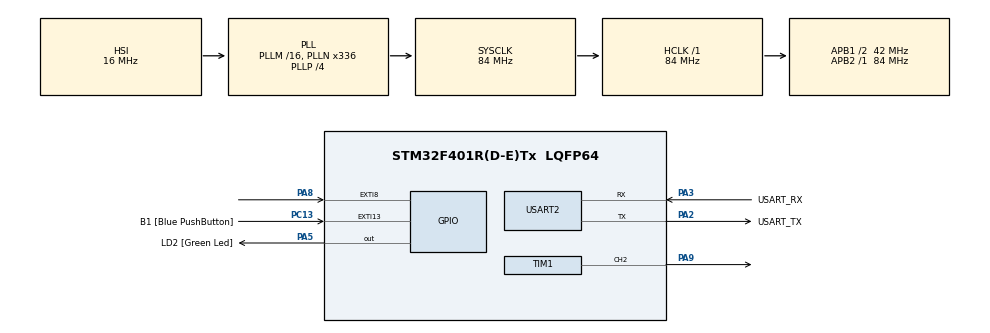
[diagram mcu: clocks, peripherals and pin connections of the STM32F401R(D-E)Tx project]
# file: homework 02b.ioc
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Mcu.Family=STM32F4
Mcu.Name=STM32F401R(D-E)Tx
Mcu.Package=LQFP64
NVIC.EXTI9_5_IRQn=true\:0\:0\:false\:false\:true\:true\:true\:true
NVIC.PriorityGroup=NVIC_PRIORITYGROUP_0
NVIC.TIM1_UP_TIM10_IRQn=true\:0\:0\:false\:false\:true\:true\:true\:true
PA13.GPIO_Label=TMS
PA13.Mode=Serial_Wire
PA13.Signal=SYS_JTMS-SWDIO
PA14.GPIO_Label=TCK
PA14.Mode=Serial_Wire
PA14.Signal=SYS_JTCK-SWCLK
PA2.GPIO_Label=USART_TX
PA2.GPIO_Mode=GPIO_MODE_AF_PP
PA2.GPIO_PuPd=GPIO_NOPULL
PA2.GPIO_Speed=GPIO_SPEED_FREQ_LOW
PA2.Mode=Asynchronous
PA2.Signal=USART2_TX
PA3.GPIO_Label=USART_RX
PA3.GPIO_Mode=GPIO_MODE_AF_PP
PA3.GPIO_PuPd=GPIO_NOPULL
PA3.GPIO_Speed=GPIO_SPEED_FREQ_LOW
PA3.Mode=Asynchronous
PA3.Signal=USART2_RX
PA5.GPIO_Label=LD2 [Green Led]
PA5.GPIO_Mode=GPIO_MODE_OUTPUT_PP
PA5.GPIO_PuPd=GPIO_NOPULL
PA5.GPIO_Speed=GPIO_SPEED_FREQ_LOW
PA5.Signal=GPIO_Output
PA8.Signal=GPXTI8
PA9.Signal=S_TIM1_CH2
PB3.GPIO_Label=SWO
PB3.Signal=SYS_JTDO-SWO
PC13-ANTI_TAMP.GPIO_Label=B1 [Blue PushButton]
PC13-ANTI_TAMP.GPIO_ModeDefaultEXTI=GPIO_MODE_IT_FALLING
PC13-ANTI_TAMP.GPIO_PuPd=GPIO_NOPULL
PC13-ANTI_TAMP.Signal=GPXTI13
PC14-OSC32_IN.Mode=LSE-External-Oscillator
PC14-OSC32_IN.Signal=RCC_OSC32_IN
PC15-OSC32_OUT.Mode=LSE-External-Oscillator
PC15-OSC32_OUT.Signal=RCC_OSC32_OUT
PH0\ -\ OSC_IN.Mode=HSE-External-Clock-Source
PH0\ -\ OSC_IN.Signal=RCC_OSC_IN
PH1\ -\ OSC_OUT.Mode=HSE-External-Clock-Source
PH1\ -\ OSC_OUT.Signal=RCC_OSC_OUT
ProjectManager.HeapSize=0x200
ProjectManager.StackSize=0x400
ProjectManager.TargetToolchain=STM32CubeIDE
RCC.48MHZClocksFreq_Value=48000000
RCC.AHBFreq_Value=84000000
RCC.APB1CLKDivider=RCC_HCLK_DIV2
RCC.APB1Freq_Value=42000000
RCC.APB1TimFreq_Value=84000000
RCC.APB2Freq_Value=84000000
RCC.APB2TimFreq_Value=84000000
RCC.CortexFreq_Value=84000000
RCC.HCLKFreq_Value=84000000
RCC.HSE_VALUE=8000000
RCC.HSI_VALUE=16000000
RCC.PLLN=336
RCC.PLLP=RCC_PLLP_DIV4
RCC.PLLQ=7
RCC.SYSCLKFreq_VALUE=84000000
RCC.SYSCLKSource=RCC_SYSCLKSOURCE_PLLCLK
RCC.VCOOutputFreq_Value=336000000
SH.S_TIM1_CH2.0=TIM1_CH2,PWM Generation2 CH2
TIM1.Channel-PWM\ Generation2\ CH2=TIM_CHANNEL_2
TIM1.Prescaler=100-1
TIM10.Period=8400-1
TIM10.Prescaler=10000-1
USART2.VirtualMode=VM_ASYNC
VP_TIM10_VS_ClockSourceINT.Mode=Enable_Timer
VP_TIM1_VS_ClockSourceINT.Mode=Internal
board=NUCLEO-F401RE

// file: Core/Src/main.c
/* USER CODE BEGIN Header */
/**
  ******************************************************************************
  * @file           : main.c
  * @brief          : Main program body
  ******************************************************************************
  * @attention
  *
  * Copyright (c) 2023 STMicroelectronics.
  * All rights reserved.
  *
  * This software is licensed under terms that can be found in the LICENSE file
  * in the root directory of this software component.
  * If no LICENSE file comes with this software, it is provided AS-IS.
  *
  ******************************************************************************
  */
/* USER CODE END Header */
#include "main.h"

/* USER CODE BEGIN PTD */
typedef struct note{
	int note;
	int delay;
}note;
/* USER CODE END PTD */

/* USER CODE BEGIN PD */
#define TIME_UNIT 1000
/* USER CODE END PD */

TIM_HandleTypeDef htim1;
TIM_HandleTypeDef htim10;

UART_HandleTypeDef huart2;

/* USER CODE BEGIN PV */
volatile int play;
volatile int first_callback=1;
volatile int delay_ended=0;
/* USER CODE END PV */

void SystemClock_Config(void);
static void MX_GPIO_Init(void);
static void MX_USART2_UART_Init(void);
static void MX_TIM1_Init(void);
static void MX_TIM10_Init(void);
static void setFrequency(int frequency)
{
  TIM_ClockConfigTypeDef sClockSourceConfig = {0};
  TIM_MasterConfigTypeDef sMasterConfig = {0};
  TIM_OC_InitTypeDef sConfigOC = {0};
  TIM_BreakDeadTimeConfigTypeDef sBreakDeadTimeConfig = {0};

  htim1.Instance = TIM1;
  htim1.Init.Prescaler = 100;
  htim1.Init.CounterMode = TIM_COUNTERMODE_UP;
  htim1.Init.Period = frequency -1;
  htim1.Init.ClockDivision = TIM_CLOCKDIVISION_DIV1;
  htim1.Init.RepetitionCounter = 0;
  htim1.Init.AutoReloadPreload = TIM_AUTORELOAD_PRELOAD_DISABLE;
  if (HAL_TIM_Base_Init(&htim1) != HAL_OK)
  {
    Error_Handler();
  }
  sClockSourceConfig.ClockSource = TIM_CLOCKSOURCE_INTERNAL;
  if (HAL_TIM_ConfigClockSource(&htim1, &sClockSourceConfig) != HAL_OK)
  {
    Error_Handler();
  }
  if (HAL_TIM_PWM_Init(&htim1) != HAL_OK)
  {
    Error_Handler();
  }
  sMasterConfig.MasterOutputTrigger = TIM_TRGO_RESET;
  sMasterConfig.MasterSlaveMode = TIM_MASTERSLAVEMODE_DISABLE;
  if (HAL_TIMEx_MasterConfigSynchronization(&htim1, &sMasterConfig) != HAL_OK)
  {
    Error_Handler();
  }
  sConfigOC.OCMode = TIM_OCMODE_PWM1;
  sConfigOC.Pulse = (int)frequency/2 -1;
  sConfigOC.OCPolarity = TIM_OCPOLARITY_HIGH;
  sConfigOC.OCNPolarity = TIM_OCNPOLARITY_HIGH;
  sConfigOC.OCFastMode = TIM_OCFAST_DISABLE;
  sConfigOC.OCIdleState = TIM_OCIDLESTATE_RESET;
  sConfigOC.OCNIdleState = TIM_OCNIDLESTATE_RESET;
  if (HAL_TIM_PWM_ConfigChannel(&htim1, &sConfigOC, TIM_CHANNEL_2) != HAL_OK)
  {
    Error_Handler();
  }
  sBreakDeadTimeConfig.OffStateRunMode = TIM_OSSR_DISABLE;
  sBreakDeadTimeConfig.OffStateIDLEMode = TIM_OSSI_DISABLE;
  sBreakDeadTimeConfig.LockLevel = TIM_LOCKLEVEL_OFF;
  sBreakDeadTimeConfig.DeadTime = 0;
  sBreakDeadTimeConfig.BreakState = TIM_BREAK_DISABLE;
  sBreakDeadTimeConfig.BreakPolarity = TIM_BREAKPOLARITY_HIGH;
  sBreakDeadTimeConfig.AutomaticOutput = TIM_AUTOMATICOUTPUT_DISABLE;
  if (HAL_TIMEx_ConfigBreakDeadTime(&htim1, &sBreakDeadTimeConfig) != HAL_OK)
  {
    Error_Handler();
  }
  HAL_TIM_MspPostInit(&htim1);
}

int getPeriod(char* note){
	if(strcmp(note, "la")==0)
		return 1909;
	else if (strcmp(note, "la#")==0)
			return 1802;
	else if (strcmp(note, "si")==0)
			return 1700;
	else if (strcmp(note, "do")==0)
			return 3206;
	else if (strcmp(note, "do#")==0)
			return 3032;
	else if (strcmp(note, "re")==0)
			return 2857;
	else if (strcmp(note, "re5")==0)
				return 1431;
	else if (strcmp(note, "re#")==0)
			return 2700;
	else if (strcmp(note, "mi")==0)
			return 2545;
	else if (strcmp(note, "fa")==0)
			return 2406;
	else if (strcmp(note, "fa#")==0)
			return 2270;
	else if (strcmp(note, "sol")==0)
			return 2142;
	else if (strcmp(note, "sol#")==0)
			return 2024;
}
struct note setNote (char* note, int delay){
	struct note nota;
	nota.note= getPeriod(note);
	nota.delay= delay;
	return nota;
}
struct note* compose_song(){

}
void playLondonBridge(){
  struct note song[24];
  song[0]= setNote("sol", (int)TIME_UNIT * 3/8);
  song[1]=setNote("la", (int)TIME_UNIT * 1/8);
  song[2]=setNote("sol", (int)TIME_UNIT * 1/4);
  song[3]=setNote("fa", (int)TIME_UNIT * 1/4);
  song[4]=setNote("mi", (int)TIME_UNIT * 1/4);
  song[5]=setNote("fa", (int)TIME_UNIT * 1/4);
  song[6]=setNote("sol", (int)TIME_UNIT * 1/2);
  song[7]=setNote("re", (int)TIME_UNIT * 1/4);
  song[8]=setNote("mi", (int)TIME_UNIT * 1/4);
  song[9]=setNote("fa", (int)TIME_UNIT * 1/2);
  song[10]=setNote("mi", (int)TIME_UNIT * 1/4);
  song[11]=setNote("fa", (int)TIME_UNIT * 1/4);
  song[12]=setNote("sol", (int)TIME_UNIT * 1/2);
  song[13]=setNote("sol", (int)TIME_UNIT * 3/8);
  song[14]=setNote("la", (int)TIME_UNIT * 1/8);
  song[15]=setNote("sol", (int)TIME_UNIT * 1/4);
  song[16]=setNote("fa", (int)TIME_UNIT * 1/4);
  song[17]=setNote("mi", (int)TIME_UNIT * 1/4);
  song[18]=setNote("fa", (int)TIME_UNIT * 1/4);
  song[19]=setNote("sol", (int)TIME_UNIT * 1/2);
  song[20]=setNote("re", (int)TIME_UNIT * 1/2);
  song[21]=setNote("sol", (int)TIME_UNIT * 1/2);
  song[22]=setNote("mi", (int)TIME_UNIT * 1/4);
  song[23]=setNote("do", (int)TIME_UNIT * 3/4);

  for(int i=0; i<sizeof(song)/sizeof(song[1]); i++){
	  setFrequency(song[i].note);
	  HAL_TIM_PWM_Start(&htim1, TIM_CHANNEL_2);
	  setTimer (song[i].delay);
	  HAL_TIM_Base_Start_IT(&htim10);
	  while(!delay_ended){}
	  delay_ended=0;
  }
  first_callback=1;
  delay_ended=0;
}
/*void playTequila(){
	for(int i=0; i<3; i++){
		setNote("re", (int)TIME_UNIT * 1/8);
		setNote("sol", (int)TIME_UNIT * 2/8);
		setNote("sol", (int)TIME_UNIT * 1/8);
		setNote("sfa", (int)TIME_UNIT * 1/8);
		setNote("la", (int)TIME_UNIT * 2/8);
		setNote("fa", (int)TIME_UNIT * 1/8);
		setNote("sol", (int)TIME_UNIT * 1/8);
		setNote("sol", (int)TIME_UNIT * 1/8);
		setNote("re", (int)TIME_UNIT * 1/8);
		setNote("re", (int)TIME_UNIT * 4/8);
		setNote("re", (int)TIME_UNIT * 1/8);
		setNote("re", (int)TIME_UNIT * 1/8);
		setNote("sol", (int)TIME_UNIT * 2/8);
		setNote("sol", (int)TIME_UNIT * 1/8);
		setNote("fa", (int)TIME_UNIT * 1/8);
		setNote("la", (int)TIME_UNIT * 2/8);
		setNote("fa", (int)TIME_UNIT * 1/8);
		setNote("sol", (int)TIME_UNIT * 1/8);
		setNote("sol", (int)TIME_UNIT * 5/8);
		HAL_Delay((int)TIME_UNIT*1/8);
		setNote("re", (int)TIME_UNIT * 1/8);
		setNote("sol", (int)TIME_UNIT * 2/8);
		setNote("sol", (int)TIME_UNIT * 1/8);
		setNote("sfa", (int)TIME_UNIT * 1/8);
		setNote("la", (int)TIME_UNIT * 2/8);
		setNote("fa", (int)TIME_UNIT * 1/8);
		setNote("sol", (int)TIME_UNIT * 1/8);
		setNote("sol", (int)TIME_UNIT * 1/8);
		setNote("re", (int)TIME_UNIT * 1/8);
		setNote("re", (int)TIME_UNIT * 4/8);
		setNote("re", (int)TIME_UNIT * 1/8);
		setNote("re", (int)TIME_UNIT * 1/8);
		setNote("sol", (int)TIME_UNIT * 2/8);
		setNote("sol", (int)TIME_UNIT * 1/8);
		setNote("fa", (int)TIME_UNIT * 1/8);
		setNote("la", (int)TIME_UNIT * 2/8);
		setNote("fa", (int)TIME_UNIT * 1/8);
		setNote("sol", (int)TIME_UNIT * 1/8);
		setNote("sol", (int)TIME_UNIT * 5/8);
	}

	setNote("sol", (int)TIME_UNIT * 4/8);
	HAL_Delay((int)TIME_UNIT*1/8);
	setNote("re", (int)TIME_UNIT * 1/8);
	setNote("mi", (int)TIME_UNIT * 1/8);
	setNote("sol", (int)TIME_UNIT * 1/8);
	setNote("la#", (int)TIME_UNIT * 8/8);
	setNote("sol", (int)TIME_UNIT * 4/8);
	HAL_Delay((int)TIME_UNIT*1/8);
	setNote("re", (int)TIME_UNIT * 1/8);
	setNote("mi", (int)TIME_UNIT * 1/8);
	setNote("sol", (int)TIME_UNIT * 1/8);
	setNote("la#", (int)TIME_UNIT * 8/8);
	setNote("sol", (int)TIME_UNIT * 4/8);
	HAL_Delay((int)TIME_UNIT*1/8);
	setNote("re", (int)TIME_UNIT * 1/8);
	setNote("mi", (int)TIME_UNIT * 1/8);
	setNote("sol", (int)TIME_UNIT * 1/8);
	setNote("la#", (int)TIME_UNIT * 8/8);
	setNote("sol", (int)TIME_UNIT * 8/8);
	setNote("la", (int)TIME_UNIT * 1/8);
	setNote("la", (int)TIME_UNIT * 1/8);
	setNote("la", (int)TIME_UNIT * 1/8);
	setNote("la", (int)TIME_UNIT * 1/8);
	setNote("la", (int)TIME_UNIT * 2/8);
	setNote("la", (int)TIME_UNIT * 2/8);
	setNote("re5", (int)TIME_UNIT * 8/8);
}
*/

void HAL_GPIO_EXTI_Callback(uint16_t GPIO_Pin){
	play = 1;
}
void setTimer(int delay)
{
  htim10.Instance = TIM10;
  htim10.Init.Prescaler = 9999;
  htim10.Init.CounterMode = TIM_COUNTERMODE_UP;
  htim10.Init.Period = (int)(8400-1)*delay;
  htim10.Init.ClockDivision = TIM_CLOCKDIVISION_DIV1;
  htim10.Init.AutoReloadPreload = TIM_AUTORELOAD_PRELOAD_DISABLE;
  if (HAL_TIM_Base_Init(&htim10) != HAL_OK)
  {
    Error_Handler();
  }
}
/* USER CODE BEGIN PFP */
void HAL_TIM_PeriodElapsedCallback(TIM_HandleTypeDef *htim10){
	if(first_callback==1){
		first_callback=0;
	}else{
		first_callback=1;
		delay_ended=1;
		HAL_TIM_PWM_Stop(&htim1, TIM_CHANNEL_2);
		HAL_TIM_Base_Stop_IT(htim10);
	}
}

/* USER CODE END PFP */

int main(void)
{

  /* MCU Configuration--------------------------------------------------------*/

  /* Reset of all peripherals, Initializes the Flash interface and the Systick. */
  HAL_Init();

  /* Configure the system clock */
  SystemClock_Config();

  /* Initialize all configured peripherals */
  MX_GPIO_Init();
  MX_USART2_UART_Init();
  MX_TIM1_Init();
  MX_TIM10_Init();

  /* Infinite loop */
  /* USER CODE BEGIN WHILE */
  int index=0;
  while (1)
  {
	 if(play==1){
		 playLondonBridge();
		 play=0;
	 }
    /* USER CODE END WHILE */

  }
}

void SystemClock_Config(void)
{
  RCC_OscInitTypeDef RCC_OscInitStruct = {0};
  RCC_ClkInitTypeDef RCC_ClkInitStruct = {0};

  /** Configure the main internal regulator output voltage
  */
  __HAL_RCC_PWR_CLK_ENABLE();
  __HAL_PWR_VOLTAGESCALING_CONFIG(PWR_REGULATOR_VOLTAGE_SCALE2);

  /** Initializes the RCC Oscillators according to the specified parameters
  * in the RCC_OscInitTypeDef structure.
  */
  RCC_OscInitStruct.OscillatorType = RCC_OSCILLATORTYPE_HSI;
  RCC_OscInitStruct.HSIState = RCC_HSI_ON;
  RCC_OscInitStruct.HSICalibrationValue = RCC_HSICALIBRATION_DEFAULT;
  RCC_OscInitStruct.PLL.PLLState = RCC_PLL_ON;
  RCC_OscInitStruct.PLL.PLLSource = RCC_PLLSOURCE_HSI;
  RCC_OscInitStruct.PLL.PLLM = 16;
  RCC_OscInitStruct.PLL.PLLN = 336;
  RCC_OscInitStruct.PLL.PLLP = RCC_PLLP_DIV4;
  RCC_OscInitStruct.PLL.PLLQ = 7;
  if (HAL_RCC_OscConfig(&RCC_OscInitStruct) != HAL_OK)
  {
    Error_Handler();
  }

  /** Initializes the CPU, AHB and APB buses clocks
  */
  RCC_ClkInitStruct.ClockType = RCC_CLOCKTYPE_HCLK|RCC_CLOCKTYPE_SYSCLK
                              |RCC_CLOCKTYPE_PCLK1|RCC_CLOCKTYPE_PCLK2;
  RCC_ClkInitStruct.SYSCLKSource = RCC_SYSCLKSOURCE_PLLCLK;
  RCC_ClkInitStruct.AHBCLKDivider = RCC_SYSCLK_DIV1;
  RCC_ClkInitStruct.APB1CLKDivider = RCC_HCLK_DIV2;
  RCC_ClkInitStruct.APB2CLKDivider = RCC_HCLK_DIV1;

  if (HAL_RCC_ClockConfig(&RCC_ClkInitStruct, FLASH_LATENCY_2) != HAL_OK)
  {
    Error_Handler();
  }
}

static void MX_TIM1_Init(void)
{

  TIM_ClockConfigTypeDef sClockSourceConfig = {0};
  TIM_MasterConfigTypeDef sMasterConfig = {0};
  TIM_OC_InitTypeDef sConfigOC = {0};
  TIM_BreakDeadTimeConfigTypeDef sBreakDeadTimeConfig = {0};

  htim1.Instance = TIM1;
  htim1.Init.Prescaler = 100-1;
  htim1.Init.CounterMode = TIM_COUNTERMODE_UP;
  htim1.Init.Period = 65535;
  htim1.Init.ClockDivision = TIM_CLOCKDIVISION_DIV1;
  htim1.Init.RepetitionCounter = 0;
  htim1.Init.AutoReloadPreload = TIM_AUTORELOAD_PRELOAD_DISABLE;
  if (HAL_TIM_Base_Init(&htim1) != HAL_OK)
  {
    Error_Handler();
  }
  sClockSourceConfig.ClockSource = TIM_CLOCKSOURCE_INTERNAL;
  if (HAL_TIM_ConfigClockSource(&htim1, &sClockSourceConfig) != HAL_OK)
  {
    Error_Handler();
  }
  if (HAL_TIM_PWM_Init(&htim1) != HAL_OK)
  {
    Error_Handler();
  }
  sMasterConfig.MasterOutputTrigger = TIM_TRGO_RESET;
  sMasterConfig.MasterSlaveMode = TIM_MASTERSLAVEMODE_DISABLE;
  if (HAL_TIMEx_MasterConfigSynchronization(&htim1, &sMasterConfig) != HAL_OK)
  {
    Error_Handler();
  }
  sConfigOC.OCMode = TIM_OCMODE_PWM1;
  sConfigOC.Pulse = 0;
  sConfigOC.OCPolarity = TIM_OCPOLARITY_HIGH;
  sConfigOC.OCNPolarity = TIM_OCNPOLARITY_HIGH;
  sConfigOC.OCFastMode = TIM_OCFAST_DISABLE;
  sConfigOC.OCIdleState = TIM_OCIDLESTATE_RESET;
  sConfigOC.OCNIdleState = TIM_OCNIDLESTATE_RESET;
  if (HAL_TIM_PWM_ConfigChannel(&htim1, &sConfigOC, TIM_CHANNEL_2) != HAL_OK)
  {
    Error_Handler();
  }
  sBreakDeadTimeConfig.OffStateRunMode = TIM_OSSR_DISABLE;
  sBreakDeadTimeConfig.OffStateIDLEMode = TIM_OSSI_DISABLE;
  sBreakDeadTimeConfig.LockLevel = TIM_LOCKLEVEL_OFF;
  sBreakDeadTimeConfig.DeadTime = 0;
  sBreakDeadTimeConfig.BreakState = TIM_BREAK_DISABLE;
  sBreakDeadTimeConfig.BreakPolarity = TIM_BREAKPOLARITY_HIGH;
  sBreakDeadTimeConfig.AutomaticOutput = TIM_AUTOMATICOUTPUT_DISABLE;
  if (HAL_TIMEx_ConfigBreakDeadTime(&htim1, &sBreakDeadTimeConfig) != HAL_OK)
  {
    Error_Handler();
  }
  HAL_TIM_MspPostInit(&htim1);

}

static void MX_TIM10_Init(void)
{

  htim10.Instance = TIM10;
  htim10.Init.Prescaler = 10000-1;
  htim10.Init.CounterMode = TIM_COUNTERMODE_UP;
  htim10.Init.Period = 8400-1;
  htim10.Init.ClockDivision = TIM_CLOCKDIVISION_DIV1;
  htim10.Init.AutoReloadPreload = TIM_AUTORELOAD_PRELOAD_DISABLE;
  if (HAL_TIM_Base_Init(&htim10) != HAL_OK)
  {
    Error_Handler();
  }

}

static void MX_USART2_UART_Init(void)
{

  huart2.Instance = USART2;
  huart2.Init.BaudRate = 115200;
  huart2.Init.WordLength = UART_WORDLENGTH_8B;
  huart2.Init.StopBits = UART_STOPBITS_1;
  huart2.Init.Parity = UART_PARITY_NONE;
  huart2.Init.Mode = UART_MODE_TX_RX;
  huart2.Init.HwFlowCtl = UART_HWCONTROL_NONE;
  huart2.Init.OverSampling = UART_OVERSAMPLING_16;
  if (HAL_UART_Init(&huart2) != HAL_OK)
  {
    Error_Handler();
  }

}

static void MX_GPIO_Init(void)
{
  GPIO_InitTypeDef GPIO_InitStruct = {0};

  /* GPIO Ports Clock Enable */
  __HAL_RCC_GPIOC_CLK_ENABLE();
  __HAL_RCC_GPIOH_CLK_ENABLE();
  __HAL_RCC_GPIOA_CLK_ENABLE();
  __HAL_RCC_GPIOB_CLK_ENABLE();

  /*Configure GPIO pin Output Level */
  HAL_GPIO_WritePin(LD2_GPIO_Port, LD2_Pin, GPIO_PIN_RESET);

  /*Configure GPIO pin : B1_Pin */
  GPIO_InitStruct.Pin = B1_Pin;
  GPIO_InitStruct.Mode = GPIO_MODE_IT_FALLING;
  GPIO_InitStruct.Pull = GPIO_NOPULL;
  HAL_GPIO_Init(B1_GPIO_Port, &GPIO_InitStruct);

  /*Configure GPIO pin : LD2_Pin */
  GPIO_InitStruct.Pin = LD2_Pin;
  GPIO_InitStruct.Mode = GPIO_MODE_OUTPUT_PP;
  GPIO_InitStruct.Pull = GPIO_NOPULL;
  GPIO_InitStruct.Speed = GPIO_SPEED_FREQ_LOW;
  HAL_GPIO_Init(LD2_GPIO_Port, &GPIO_InitStruct);

  /*Configure GPIO pin : PA8 */
  GPIO_InitStruct.Pin = GPIO_PIN_8;
  GPIO_InitStruct.Mode = GPIO_MODE_IT_RISING;
  GPIO_InitStruct.Pull = GPIO_NOPULL;
  HAL_GPIO_Init(GPIOA, &GPIO_InitStruct);

  /* EXTI interrupt init*/
  HAL_NVIC_SetPriority(EXTI9_5_IRQn, 0, 0);
  HAL_NVIC_EnableIRQ(EXTI9_5_IRQn);

}

void Error_Handler(void)
{
  __disable_irq();
  while (1)
  {
  }
}
